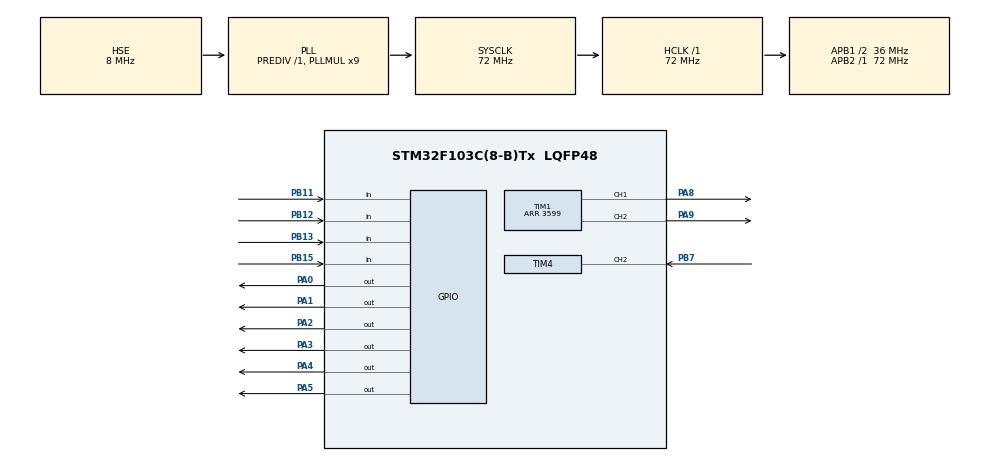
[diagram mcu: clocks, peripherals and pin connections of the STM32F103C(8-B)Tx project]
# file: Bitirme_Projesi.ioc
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Mcu.Family=STM32F1
Mcu.Name=STM32F103C(8-B)Tx
Mcu.Package=LQFP48
NVIC.PriorityGroup=NVIC_PRIORITYGROUP_4
PA0-WKUP.Signal=GPIO_Output
PA1.Signal=GPIO_Output
PA2.Signal=GPIO_Output
PA3.Signal=GPIO_Output
PA4.Signal=GPIO_Output
PA5.Signal=GPIO_Output
PA8.Signal=S_TIM1_CH1
PA9.Signal=S_TIM1_CH2
PB11.GPIO_PuPd=GPIO_PULLUP
PB11.Signal=GPIO_Input
PB12.GPIO_PuPd=GPIO_PULLUP
PB12.Signal=GPIO_Input
PB13.GPIO_PuPd=GPIO_PULLUP
PB13.Signal=GPIO_Input
PB15.GPIO_PuPd=GPIO_PULLUP
PB15.Signal=GPIO_Input
PB7.Signal=S_TIM4_CH2
PD0-OSC_IN.Mode=HSE-External-Oscillator
PD0-OSC_IN.Signal=RCC_OSC_IN
PD1-OSC_OUT.Mode=HSE-External-Oscillator
PD1-OSC_OUT.Signal=RCC_OSC_OUT
ProjectManager.HeapSize=0x200
ProjectManager.StackSize=0x400
ProjectManager.TargetToolchain=STM32CubeIDE
RCC.AHBFreq_Value=72000000
RCC.APB1CLKDivider=RCC_HCLK_DIV2
RCC.APB1Freq_Value=36000000
RCC.APB1TimFreq_Value=72000000
RCC.APB2Freq_Value=72000000
RCC.APB2TimFreq_Value=72000000
RCC.HCLKFreq_Value=72000000
RCC.PLLMUL=RCC_PLL_MUL9
RCC.PLLSourceVirtual=RCC_PLLSOURCE_HSE
RCC.SYSCLKFreq_VALUE=72000000
RCC.SYSCLKSource=RCC_SYSCLKSOURCE_PLLCLK
RCC.USBFreq_Value=72000000
SH.S_TIM1_CH1.0=TIM1_CH1,PWM Generation1 CH1
SH.S_TIM1_CH2.0=TIM1_CH2,PWM Generation2 CH2
SH.S_TIM4_CH2.0=TIM4_CH2,TriggerSource_TI2FP2
TIM1.Channel-PWM\ Generation1\ CH1=TIM_CHANNEL_1
TIM1.Channel-PWM\ Generation2\ CH2=TIM_CHANNEL_2
TIM1.Period=3599
TIM4.Slave_TriggerFilter=8
VP_SYS_VS_ND.Mode=No_Debug
VP_TIM1_VS_ClockSourceINT.Mode=Internal
VP_TIM4_VS_ControllerModeClock.Mode=Clock Mode
board=custom

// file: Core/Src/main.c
/* USER CODE BEGIN Header */
/**
  ******************************************************************************
  * @file           : main.c
  * @brief          : Main program body
  ******************************************************************************
  * @attention
  *
  * Copyright (c) 2026 STMicroelectronics.
  * All rights reserved.
  *
  * This software is licensed under terms that can be found in the LICENSE file
  * in the root directory of this software component.
  * If no LICENSE file comes with this software, it is provided AS-IS.
  *
  ******************************************************************************
  */
/* USER CODE END Header */
#include "main.h"

/* USER CODE BEGIN Includes */
#include "lcd.h"
#include <stdio.h>
/* USER CODE END Includes */

/* USER CODE BEGIN PD */
#define PWM_MAX        3420     /* %95 - bootstrap icin ust sinir */
#define DARBE_PER_TUR  12000UL  /* cikis mili, tek kanal yukselen kenar */
#define YON_BEKLEME_MS 500      /* yon degisiminde frenli bekleme */
#define KONTROL_MS     50       /* olcum + kontrol periyodu */
#define REF_RAMPA      4.0f     /* rpm / 50 ms  ->  80 rpm/s */

/* ======== DENEME AYARLARI: her denemede sadece burayi degistir ======== */
#define KP             40.0f    /* oransal kazanc   (duty sayaci / rpm)        */
#define KI             150.0f    /* integral kazanc  (duty sayaci / (rpm*s))    */
#define KD             0.0f     /* turev kazanc     (duty sayaci / (rpm/s)); deneme 6: 0.5f */
#define FF_ACIK        1        /* ileri besleme: 1 = acik, 0 = kapali; deneme 7: 0         */
/* ====================================================================== */

#define KFF            (FF_ACIK ? (3599 / 80.0f) : 0.0f)   /* %100 duty ~ 80 rpm */

/* USER CODE END PD */

TIM_HandleTypeDef htim1;
TIM_HandleTypeDef htim4;

/* USER CODE BEGIN PV */
volatile int32_t hedef_rpm = 0;
volatile uint8_t motor_acik = 0;
volatile int8_t  yon = 1;
int32_t  uygulanan_duty  = 0;
int8_t   uygulanan_yon   = 1;
uint16_t onceki_sayac    = 0;
uint32_t olculen_rpm_x10 = 0;
float ref_rpm  = 0.0f;
float integral = 0.0f;
/* USER CODE END PV */

void SystemClock_Config(void);
static void MX_GPIO_Init(void);
static void MX_TIM4_Init(void);
static void MX_TIM1_Init(void);
/* USER CODE BEGIN PFP */
void Butonlari_Oku(void);
void Motor_Sur(int8_t y, int32_t duty);
/* USER CODE END PFP */

/* USER CODE BEGIN 0 */
void Butonlari_Oku(void)
{
  static const uint16_t pin[4] = {GPIO_PIN_12, GPIO_PIN_13, GPIO_PIN_11, GPIO_PIN_15};
  static uint8_t onceki[4] = {1, 1, 1, 1};

  for (int i = 0; i < 4; i++) {
    uint8_t simdi = HAL_GPIO_ReadPin(GPIOB, pin[i]);
    if (onceki[i] == 1 && simdi == 0) {
      switch (i) {
        case 0: if (hedef_rpm < 70) hedef_rpm += 5; break;  // SW1 Artır
        case 1: if (hedef_rpm > 0)  hedef_rpm -= 5; break;  // SW2 Azalt
        case 2: motor_acik = !motor_acik;            break;  // SW3 Başlat/Durdur (PB11)
        case 3: yon = -yon;                          break;  // SW4 Yön
      }
    }
    onceki[i] = simdi;
  }
}
void Motor_Sur(int8_t y, int32_t duty)
{
  if (duty < 0)       duty = 0;
  if (duty > PWM_MAX) duty = PWM_MAX;

  if (y > 0) {
    __HAL_TIM_SET_COMPARE(&htim1, TIM_CHANNEL_1, duty);
    __HAL_TIM_SET_COMPARE(&htim1, TIM_CHANNEL_2, 0);
  } else {
    __HAL_TIM_SET_COMPARE(&htim1, TIM_CHANNEL_1, 0);
    __HAL_TIM_SET_COMPARE(&htim1, TIM_CHANNEL_2, duty);
  }
}
/* USER CODE END 0 */

int main(void)
{

  /* MCU Configuration--------------------------------------------------------*/

  /* Reset of all peripherals, Initializes the Flash interface and the Systick. */
  HAL_Init();

  /* Configure the system clock */
  SystemClock_Config();

  /* Initialize all configured peripherals */
  MX_GPIO_Init();
  MX_TIM4_Init();
  MX_TIM1_Init();
  /* USER CODE BEGIN 2 */
  lcd_init();
  lcd_gotoxy(0, 0); lcd_print("Bitirme Projesi");
  lcd_gotoxy(0, 1); lcd_print("Motor Surucu");
  HAL_Delay(1000);
  lcd_clear();

  /* Deneme ayarlarini 1,5 s goster (fotograf/video icin) */
  {
    char bas[33];
    int kd10 = (int)(KD * 10.0f + 0.5f);
    snprintf(bas, sizeof bas, "Kp%d Ki%d Kd%d.%d", (int)KP, (int)KI, kd10 / 10, kd10 % 10);
    lcd_gotoxy(0, 0); lcd_print(bas);
    lcd_gotoxy(0, 1); lcd_print(FF_ACIK ? "FF: ACIK" : "FF: KAPALI");
    HAL_Delay(1500);
    lcd_clear();
  }

  HAL_TIM_Base_Start(&htim4);
  HAL_TIM_PWM_Start(&htim1, TIM_CHANNEL_1);
  HAL_TIM_PWM_Start(&htim1, TIM_CHANNEL_2);
  onceki_sayac = __HAL_TIM_GET_COUNTER(&htim4);
  /* USER CODE END 2 */

  /* Infinite loop */
  /* USER CODE BEGIN WHILE */
  uint32_t son_tarama = 0, son_olcum = 0, son_lcd = 0;
  char satir[33];
  while (1)
  {
    /* USER CODE END WHILE */

    /* USER CODE BEGIN 3 */
	    uint32_t simdi = HAL_GetTick();
	    if (simdi - son_tarama >= 10) {
	      son_tarama += 10;
	      Butonlari_Oku();
	    }

	    if (simdi - son_olcum >= KONTROL_MS) {
	      son_olcum += KONTROL_MS;
	      uint16_t sayac = __HAL_TIM_GET_COUNTER(&htim4);
	      uint16_t fark  = sayac - onceki_sayac;
	      onceki_sayac   = sayac;
	      olculen_rpm_x10 = (uint32_t)fark * 12000UL / DARBE_PER_TUR;
	      float olculen = olculen_rpm_x10 / 10.0f;

	      /* turev olcumden alinir: hedef degisince ani sicrama olmaz */
	      static float onceki_olculen = 0.0f;
	      float turev = (olculen - onceki_olculen) / (KONTROL_MS / 1000.0f);   /* rpm/s */
	      onceki_olculen = olculen;

	      static uint16_t yon_bekleme = 0;
	      float hedef = motor_acik ? (float)hedef_rpm : 0.0f;
	      if (uygulanan_yon != yon) {
	        hedef = 0.0f;
	        if (ref_rpm == 0.0f && olculen_rpm_x10 == 0) {
	          yon_bekleme += KONTROL_MS;
	          if (yon_bekleme >= YON_BEKLEME_MS) {
	            uygulanan_yon = yon;
	            yon_bekleme = 0;
	          }
	        }
	      } else {
	        yon_bekleme = 0;
	      }

	      if (ref_rpm < hedef) {
	        ref_rpm += REF_RAMPA;
	        if (ref_rpm > hedef) ref_rpm = hedef;
	      } else if (ref_rpm > hedef) {
	        ref_rpm -= REF_RAMPA;
	        if (ref_rpm < hedef) ref_rpm = hedef;
	      }

	      if (ref_rpm <= 0.0f) {
	        integral = 0.0f;
	        uygulanan_duty = 0;
	      } else {
	        float hata = ref_rpm - olculen;
	        float yeni_integral = integral + KI * hata * (KONTROL_MS / 1000.0f);
	        float cikis = KFF * ref_rpm + KP * hata + yeni_integral - KD * turev;
	        if ((cikis < PWM_MAX || hata < 0.0f) && (cikis > 0.0f || hata > 0.0f)) {
	          integral = yeni_integral;
	        }

	        cikis = KFF * ref_rpm + KP * hata + integral - KD * turev;
	        if (cikis < 0.0f)    cikis = 0.0f;
	        if (cikis > PWM_MAX) cikis = PWM_MAX;
	        uygulanan_duty = (int32_t)cikis;
	      }

	      Motor_Sur(uygulanan_yon, uygulanan_duty);
	    }

	    if (simdi - son_lcd >= 200) {
	      son_lcd = simdi;
	      int g = (int)olculen_rpm_x10;
	      snprintf(satir, sizeof satir, "H:%2d R:%3d.%d rpm",
	               (int)hedef_rpm, g / 10, g % 10);
	      lcd_gotoxy(0, 0); lcd_print(satir);

	      snprintf(satir, sizeof satir, "%-5s %-5s %3d%%",
	               motor_acik ? "CALIS" : "DUR",
	               (yon > 0) ? "ILERI" : "GERI",
	               (int)(uygulanan_duty * 100 / 3599));
	      lcd_gotoxy(0, 1); lcd_print(satir);
	    }
	  }
  /* USER CODE END 3 */
}

void SystemClock_Config(void)
{
  RCC_OscInitTypeDef RCC_OscInitStruct = {0};
  RCC_ClkInitTypeDef RCC_ClkInitStruct = {0};

  /** Initializes the RCC Oscillators according to the specified parameters
  * in the RCC_OscInitTypeDef structure.
  */
  RCC_OscInitStruct.OscillatorType = RCC_OSCILLATORTYPE_HSE;
  RCC_OscInitStruct.HSEState = RCC_HSE_ON;
  RCC_OscInitStruct.HSEPredivValue = RCC_HSE_PREDIV_DIV1;
  RCC_OscInitStruct.HSIState = RCC_HSI_ON;
  RCC_OscInitStruct.PLL.PLLState = RCC_PLL_ON;
  RCC_OscInitStruct.PLL.PLLSource = RCC_PLLSOURCE_HSE;
  RCC_OscInitStruct.PLL.PLLMUL = RCC_PLL_MUL9;
  if (HAL_RCC_OscConfig(&RCC_OscInitStruct) != HAL_OK)
  {
    Error_Handler();
  }

  /** Initializes the CPU, AHB and APB buses clocks
  */
  RCC_ClkInitStruct.ClockType = RCC_CLOCKTYPE_HCLK|RCC_CLOCKTYPE_SYSCLK
                              |RCC_CLOCKTYPE_PCLK1|RCC_CLOCKTYPE_PCLK2;
  RCC_ClkInitStruct.SYSCLKSource = RCC_SYSCLKSOURCE_PLLCLK;
  RCC_ClkInitStruct.AHBCLKDivider = RCC_SYSCLK_DIV1;
  RCC_ClkInitStruct.APB1CLKDivider = RCC_HCLK_DIV2;
  RCC_ClkInitStruct.APB2CLKDivider = RCC_HCLK_DIV1;

  if (HAL_RCC_ClockConfig(&RCC_ClkInitStruct, FLASH_LATENCY_2) != HAL_OK)
  {
    Error_Handler();
  }
}

static void MX_TIM1_Init(void)
{

  TIM_ClockConfigTypeDef sClockSourceConfig = {0};
  TIM_MasterConfigTypeDef sMasterConfig = {0};
  TIM_OC_InitTypeDef sConfigOC = {0};
  TIM_BreakDeadTimeConfigTypeDef sBreakDeadTimeConfig = {0};

  htim1.Instance = TIM1;
  htim1.Init.Prescaler = 0;
  htim1.Init.CounterMode = TIM_COUNTERMODE_UP;
  htim1.Init.Period = 3599;
  htim1.Init.ClockDivision = TIM_CLOCKDIVISION_DIV1;
  htim1.Init.RepetitionCounter = 0;
  htim1.Init.AutoReloadPreload = TIM_AUTORELOAD_PRELOAD_DISABLE;
  if (HAL_TIM_Base_Init(&htim1) != HAL_OK)
  {
    Error_Handler();
  }
  sClockSourceConfig.ClockSource = TIM_CLOCKSOURCE_INTERNAL;
  if (HAL_TIM_ConfigClockSource(&htim1, &sClockSourceConfig) != HAL_OK)
  {
    Error_Handler();
  }
  if (HAL_TIM_PWM_Init(&htim1) != HAL_OK)
  {
    Error_Handler();
  }
  sMasterConfig.MasterOutputTrigger = TIM_TRGO_RESET;
  sMasterConfig.MasterSlaveMode = TIM_MASTERSLAVEMODE_DISABLE;
  if (HAL_TIMEx_MasterConfigSynchronization(&htim1, &sMasterConfig) != HAL_OK)
  {
    Error_Handler();
  }
  sConfigOC.OCMode = TIM_OCMODE_PWM1;
  sConfigOC.Pulse = 0;
  sConfigOC.OCPolarity = TIM_OCPOLARITY_HIGH;
  sConfigOC.OCNPolarity = TIM_OCNPOLARITY_HIGH;
  sConfigOC.OCFastMode = TIM_OCFAST_DISABLE;
  sConfigOC.OCIdleState = TIM_OCIDLESTATE_RESET;
  sConfigOC.OCNIdleState = TIM_OCNIDLESTATE_RESET;
  if (HAL_TIM_PWM_ConfigChannel(&htim1, &sConfigOC, TIM_CHANNEL_1) != HAL_OK)
  {
    Error_Handler();
  }
  if (HAL_TIM_PWM_ConfigChannel(&htim1, &sConfigOC, TIM_CHANNEL_2) != HAL_OK)
  {
    Error_Handler();
  }
  sBreakDeadTimeConfig.OffStateRunMode = TIM_OSSR_DISABLE;
  sBreakDeadTimeConfig.OffStateIDLEMode = TIM_OSSI_DISABLE;
  sBreakDeadTimeConfig.LockLevel = TIM_LOCKLEVEL_OFF;
  sBreakDeadTimeConfig.DeadTime = 0;
  sBreakDeadTimeConfig.BreakState = TIM_BREAK_DISABLE;
  sBreakDeadTimeConfig.BreakPolarity = TIM_BREAKPOLARITY_HIGH;
  sBreakDeadTimeConfig.AutomaticOutput = TIM_AUTOMATICOUTPUT_DISABLE;
  if (HAL_TIMEx_ConfigBreakDeadTime(&htim1, &sBreakDeadTimeConfig) != HAL_OK)
  {
    Error_Handler();
  }
  HAL_TIM_MspPostInit(&htim1);

}

static void MX_TIM4_Init(void)
{

  TIM_SlaveConfigTypeDef sSlaveConfig = {0};
  TIM_MasterConfigTypeDef sMasterConfig = {0};

  htim4.Instance = TIM4;
  htim4.Init.Prescaler = 0;
  htim4.Init.CounterMode = TIM_COUNTERMODE_UP;
  htim4.Init.Period = 65535;
  htim4.Init.ClockDivision = TIM_CLOCKDIVISION_DIV1;
  htim4.Init.AutoReloadPreload = TIM_AUTORELOAD_PRELOAD_DISABLE;
  if (HAL_TIM_Base_Init(&htim4) != HAL_OK)
  {
    Error_Handler();
  }
  sSlaveConfig.SlaveMode = TIM_SLAVEMODE_EXTERNAL1;
  sSlaveConfig.InputTrigger = TIM_TS_TI2FP2;
  sSlaveConfig.TriggerPolarity = TIM_TRIGGERPOLARITY_RISING;
  sSlaveConfig.TriggerFilter = 8;
  if (HAL_TIM_SlaveConfigSynchro(&htim4, &sSlaveConfig) != HAL_OK)
  {
    Error_Handler();
  }
  sMasterConfig.MasterOutputTrigger = TIM_TRGO_RESET;
  sMasterConfig.MasterSlaveMode = TIM_MASTERSLAVEMODE_DISABLE;
  if (HAL_TIMEx_MasterConfigSynchronization(&htim4, &sMasterConfig) != HAL_OK)
  {
    Error_Handler();
  }

}

static void MX_GPIO_Init(void)
{
  GPIO_InitTypeDef GPIO_InitStruct = {0};

  /* GPIO Ports Clock Enable */
  __HAL_RCC_GPIOD_CLK_ENABLE();
  __HAL_RCC_GPIOA_CLK_ENABLE();
  __HAL_RCC_GPIOB_CLK_ENABLE();

  /*Configure GPIO pin Output Level */
  HAL_GPIO_WritePin(GPIOA, GPIO_PIN_0|GPIO_PIN_1|GPIO_PIN_2|GPIO_PIN_3
                          |GPIO_PIN_4|GPIO_PIN_5, GPIO_PIN_RESET);

  /*Configure GPIO pins : PA0 PA1 PA2 PA3
                           PA4 PA5 */
  GPIO_InitStruct.Pin = GPIO_PIN_0|GPIO_PIN_1|GPIO_PIN_2|GPIO_PIN_3
                          |GPIO_PIN_4|GPIO_PIN_5;
  GPIO_InitStruct.Mode = GPIO_MODE_OUTPUT_PP;
  GPIO_InitStruct.Pull = GPIO_NOPULL;
  GPIO_InitStruct.Speed = GPIO_SPEED_FREQ_LOW;
  HAL_GPIO_Init(GPIOA, &GPIO_InitStruct);

  /*Configure GPIO pins : PB11 PB12 PB13 PB15 */
  GPIO_InitStruct.Pin = GPIO_PIN_11|GPIO_PIN_12|GPIO_PIN_13|GPIO_PIN_15;
  GPIO_InitStruct.Mode = GPIO_MODE_INPUT;
  GPIO_InitStruct.Pull = GPIO_PULLUP;
  HAL_GPIO_Init(GPIOB, &GPIO_InitStruct);

}

void Error_Handler(void)
{
  __disable_irq();
  while (1)
  {
  }
}
